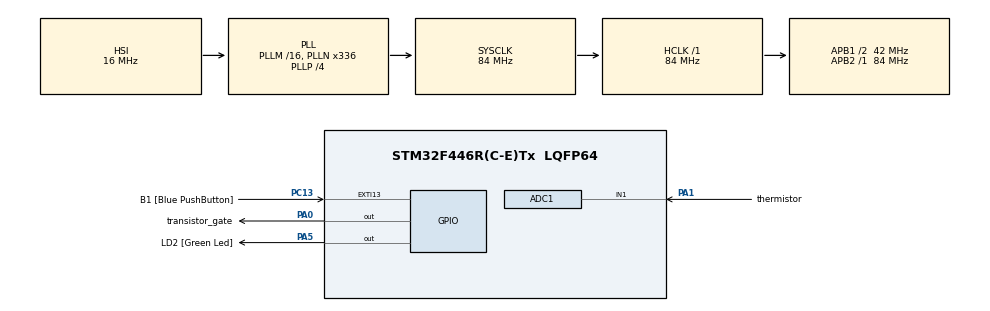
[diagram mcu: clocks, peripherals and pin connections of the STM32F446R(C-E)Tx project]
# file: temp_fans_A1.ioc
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ADC1.Channel-1\#ChannelRegularConversion=ADC_CHANNEL_1
ADC1.NbrOfConversionFlag=1
ADC1.Rank-1\#ChannelRegularConversion=1
ADC1.SamplingTime-1\#ChannelRegularConversion=ADC_SAMPLETIME_3CYCLES
ADC1.master=1
Mcu.Family=STM32F4
Mcu.Name=STM32F446R(C-E)Tx
Mcu.Package=LQFP64
NVIC.PriorityGroup=NVIC_PRIORITYGROUP_0
PA0-WKUP.GPIO_Label=transistor_gate
PA0-WKUP.Signal=GPIO_Output
PA1.GPIO_Label=thermistor
PA1.Signal=ADCx_IN1
PA13.GPIO_Label=TMS
PA13.Mode=Trace_Asynchronous_SW
PA13.Signal=SYS_JTMS-SWDIO
PA14.GPIO_Label=TCK
PA14.Mode=Trace_Asynchronous_SW
PA14.Signal=SYS_JTCK-SWCLK
PA5.GPIO_Label=LD2 [Green Led]
PA5.Signal=GPIO_Output
PB3.GPIO_Label=SWO
PB3.Mode=Trace_Asynchronous_SW
PB3.Signal=SYS_JTDO-SWO
PC13.GPIO_Label=B1 [Blue PushButton]
PC13.GPIO_ModeDefaultEXTI=GPIO_MODE_IT_FALLING
PC13.Signal=GPXTI13
PC14-OSC32_IN.Mode=LSE-External-Oscillator
PC14-OSC32_IN.Signal=RCC_OSC32_IN
PC15-OSC32_OUT.Mode=LSE-External-Oscillator
PC15-OSC32_OUT.Signal=RCC_OSC32_OUT
PH0-OSC_IN.Mode=HSE-External-Oscillator
PH0-OSC_IN.Signal=RCC_OSC_IN
PH1-OSC_OUT.Mode=HSE-External-Oscillator
PH1-OSC_OUT.Signal=RCC_OSC_OUT
ProjectManager.HeapSize=0x200
ProjectManager.StackSize=0x400
ProjectManager.TargetToolchain=STM32CubeIDE
RCC.AHBFreq_Value=84000000
RCC.APB1CLKDivider=RCC_HCLK_DIV2
RCC.APB1Freq_Value=42000000
RCC.APB1TimFreq_Value=84000000
RCC.APB2Freq_Value=84000000
RCC.APB2TimFreq_Value=84000000
RCC.CortexFreq_Value=84000000
RCC.FLatency-AdvancedSettings=FLASH_LATENCY_2
RCC.HCLKFreq_Value=84000000
RCC.HSE_VALUE=8000000
RCC.HSI_VALUE=16000000
RCC.PLLN=336
RCC.PLLP=RCC_PLLP_DIV4
RCC.SYSCLKFreq_VALUE=84000000
RCC.SYSCLKSource=RCC_SYSCLKSOURCE_PLLCLK
RCC.USBFreq_Value=168000000
RCC.VCOOutputFreq_Value=336000000
SH.ADCx_IN1.0=ADC1_IN1,IN1
board=NUCLEO-F446RE

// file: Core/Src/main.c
/* USER CODE BEGIN Header */
/**
  ******************************************************************************
  * @file           : main.c
  * @brief          : Main program body
  ******************************************************************************
  * @attention
  *
  * <h2><center>&copy; Copyright (c) 2020 STMicroelectronics.
  * All rights reserved.</center></h2>
  *
  * This software component is licensed by ST under BSD 3-Clause license,
  * the "License"; You may not use this file except in compliance with the
  * License. You may obtain a copy of the License at:
  *                        opensource.org/licenses/BSD-3-Clause
  *
  ******************************************************************************
  */
/* USER CODE END Header */

#include "main.h"
#include "math.h"

ADC_HandleTypeDef hadc1;

/* USER CODE BEGIN PV */
uint32_t series_resistor= 10000;
uint32_t adc_max= 4096;
float beta= 3950;
float temp_0= 298;

/* USER CODE END PV */

void SystemClock_Config(void);
static void MX_GPIO_Init(void);
static void MX_ADC1_Init(void);

int main(void)
{

  /* MCU Configuration--------------------------------------------------------*/

  /* Reset of all peripherals, Initializes the Flash interface and the Systick. */
  HAL_Init();

  /* Configure the system clock */
  SystemClock_Config();

  /* Initialize all configured peripherals */
  MX_GPIO_Init();
  MX_ADC1_Init();

  /* Infinite loop */
  while (1)
  {

    /* USER CODE BEGIN 3 */

	  //turn on/off fans

	  //collect temperature
	  HAL_ADC_Start(&hadc1);
	  HAL_ADC_PollForConversion(&hadc1, HAL_MAX_DELAY);
	  double adc_value= HAL_ADC_GetValue(&hadc1);
	  HAL_ADC_Stop(&hadc1);

	  double resistance= -adc_value/(adc_value-adc_max);
	  double denominator= beta + (temp_0*log(resistance));
	  double numerator= beta * temp_0;
	  double result= numerator/denominator;

	  double temp= (result * 9.0/5.0) - 459.67;

	  if(temp > 80){
		  HAL_GPIO_WritePin(transistor_gate_GPIO_Port, transistor_gate_Pin, GPIO_PIN_SET);
		  HAL_GPIO_WritePin(LD2_GPIO_Port, LD2_Pin, GPIO_PIN_SET);
	  }
	  else{
		  HAL_GPIO_WritePin(transistor_gate_GPIO_Port, transistor_gate_Pin, GPIO_PIN_RESET);
		  HAL_GPIO_WritePin(LD2_GPIO_Port, LD2_Pin, GPIO_PIN_RESET);
	  }
	  //HAL_Delay(3000);

	  /*
	  HAL_GPIO_TogglePin(transistor_gate_GPIO_Port, transistor_gate_Pin);
	  HAL_GPIO_TogglePin(LD2_GPIO_Port, LD2_Pin);
	  HAL_Delay(3000);
	  */

  }
  /* USER CODE END 3 */
}

void SystemClock_Config(void)
{
  RCC_OscInitTypeDef RCC_OscInitStruct = {0};
  RCC_ClkInitTypeDef RCC_ClkInitStruct = {0};

  /** Configure the main internal regulator output voltage
  */
  __HAL_RCC_PWR_CLK_ENABLE();
  __HAL_PWR_VOLTAGESCALING_CONFIG(PWR_REGULATOR_VOLTAGE_SCALE3);
  /** Initializes the CPU, AHB and APB busses clocks
  */
  RCC_OscInitStruct.OscillatorType = RCC_OSCILLATORTYPE_HSI;
  RCC_OscInitStruct.HSIState = RCC_HSI_ON;
  RCC_OscInitStruct.HSICalibrationValue = RCC_HSICALIBRATION_DEFAULT;
  RCC_OscInitStruct.PLL.PLLState = RCC_PLL_ON;
  RCC_OscInitStruct.PLL.PLLSource = RCC_PLLSOURCE_HSI;
  RCC_OscInitStruct.PLL.PLLM = 16;
  RCC_OscInitStruct.PLL.PLLN = 336;
  RCC_OscInitStruct.PLL.PLLP = RCC_PLLP_DIV4;
  RCC_OscInitStruct.PLL.PLLQ = 2;
  RCC_OscInitStruct.PLL.PLLR = 2;
  if (HAL_RCC_OscConfig(&RCC_OscInitStruct) != HAL_OK)
  {
    Error_Handler();
  }
  /** Initializes the CPU, AHB and APB busses clocks
  */
  RCC_ClkInitStruct.ClockType = RCC_CLOCKTYPE_HCLK|RCC_CLOCKTYPE_SYSCLK
                              |RCC_CLOCKTYPE_PCLK1|RCC_CLOCKTYPE_PCLK2;
  RCC_ClkInitStruct.SYSCLKSource = RCC_SYSCLKSOURCE_PLLCLK;
  RCC_ClkInitStruct.AHBCLKDivider = RCC_SYSCLK_DIV1;
  RCC_ClkInitStruct.APB1CLKDivider = RCC_HCLK_DIV2;
  RCC_ClkInitStruct.APB2CLKDivider = RCC_HCLK_DIV1;

  if (HAL_RCC_ClockConfig(&RCC_ClkInitStruct, FLASH_LATENCY_2) != HAL_OK)
  {
    Error_Handler();
  }
}

static void MX_ADC1_Init(void)
{

  ADC_ChannelConfTypeDef sConfig = {0};

  /** Configure the global features of the ADC (Clock, Resolution, Data Alignment and number of conversion)
  */
  hadc1.Instance = ADC1;
  hadc1.Init.ClockPrescaler = ADC_CLOCK_SYNC_PCLK_DIV4;
  hadc1.Init.Resolution = ADC_RESOLUTION_12B;
  hadc1.Init.ScanConvMode = DISABLE;
  hadc1.Init.ContinuousConvMode = DISABLE;
  hadc1.Init.DiscontinuousConvMode = DISABLE;
  hadc1.Init.ExternalTrigConvEdge = ADC_EXTERNALTRIGCONVEDGE_NONE;
  hadc1.Init.ExternalTrigConv = ADC_SOFTWARE_START;
  hadc1.Init.DataAlign = ADC_DATAALIGN_RIGHT;
  hadc1.Init.NbrOfConversion = 1;
  hadc1.Init.DMAContinuousRequests = DISABLE;
  hadc1.Init.EOCSelection = ADC_EOC_SINGLE_CONV;
  if (HAL_ADC_Init(&hadc1) != HAL_OK)
  {
    Error_Handler();
  }
  /** Configure for the selected ADC regular channel its corresponding rank in the sequencer and its sample time.
  */
  sConfig.Channel = ADC_CHANNEL_1;
  sConfig.Rank = 1;
  sConfig.SamplingTime = ADC_SAMPLETIME_3CYCLES;
  if (HAL_ADC_ConfigChannel(&hadc1, &sConfig) != HAL_OK)
  {
    Error_Handler();
  }

}

static void MX_GPIO_Init(void)
{
  GPIO_InitTypeDef GPIO_InitStruct = {0};

  /* GPIO Ports Clock Enable */
  __HAL_RCC_GPIOC_CLK_ENABLE();
  __HAL_RCC_GPIOH_CLK_ENABLE();
  __HAL_RCC_GPIOA_CLK_ENABLE();
  __HAL_RCC_GPIOB_CLK_ENABLE();

  /*Configure GPIO pin Output Level */
  HAL_GPIO_WritePin(GPIOA, transistor_gate_Pin|LD2_Pin, GPIO_PIN_RESET);

  /*Configure GPIO pin : B1_Pin */
  GPIO_InitStruct.Pin = B1_Pin;
  GPIO_InitStruct.Mode = GPIO_MODE_IT_FALLING;
  GPIO_InitStruct.Pull = GPIO_NOPULL;
  HAL_GPIO_Init(B1_GPIO_Port, &GPIO_InitStruct);

  /*Configure GPIO pins : transistor_gate_Pin LD2_Pin */
  GPIO_InitStruct.Pin = transistor_gate_Pin|LD2_Pin;
  GPIO_InitStruct.Mode = GPIO_MODE_OUTPUT_PP;
  GPIO_InitStruct.Pull = GPIO_NOPULL;
  GPIO_InitStruct.Speed = GPIO_SPEED_FREQ_LOW;
  HAL_GPIO_Init(GPIOA, &GPIO_InitStruct);

}

void Error_Handler(void)
{
}

/************************ (C) COPYRIGHT STMicroelectronics *****END OF FILE****/
